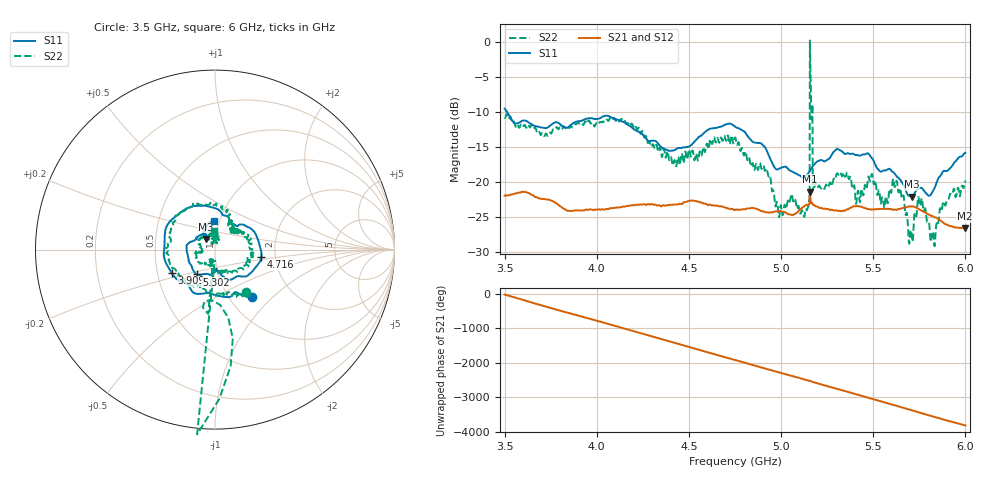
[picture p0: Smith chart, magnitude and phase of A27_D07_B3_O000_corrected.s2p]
! Created with skrf 1.9.0 (http://scikit-rf.org).
# Hz S RI R 50.0
!freq ReS11 ImS11 ReS21 ImS21 ReS12 ImS12 ReS22 ImS22
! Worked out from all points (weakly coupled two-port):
!   1601 points, 3.5 GHz to 6 GHz, reference 50 ohm
!   highest |S21| = -21.35 dB at 5.156 GHz (marker M1); lowest = -26.6 dB at 5.997 GHz (marker M2)
!   lowest |S11| = -22.1 dB at 5.709 GHz (marker M3), VSWR 1.17, Z = 44.8 + j5.39 ohm
!   |S11| at or under -10 dB: 3.515 GHz to end of sweep
!   |S22| runs from -29.2 to 0.3 dB; largest |S21 - S12| = 0.00097
!   S11 on the Smith chart (normalised r, x): 3.5 GHz: 1.26, -0.76; 3.909 GHz: 0.60, -0.17; 4.716 GHz: 1.69, -0.15; 5.302 GHz: 0.79, -0.22; 6 GHz: 0.93, +0.31
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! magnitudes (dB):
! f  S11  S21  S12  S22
! 3.5 GHz  -9.5  -21.9  -21.9  -10.8
! 3.909 GHz  -11.3  -24.1  -24.0  -11.6
! 3.917 GHz  -11.2  -24.1  -24.1  -11.5
! 4.334 GHz  -14.5  -23.3  -23.3  -15.7
! 4.422 GHz  -15.4  -23.2  -23.2  -16.9
! 4.716 GHz  -11.6  -23.8  -23.9  -13.9
! 4.75 GHz  -12.0  -24.0  -23.9  -13.6
! 4.93 GHz  -16.0  -24.3  -24.3  -19.0
! 4.981 GHz  -18.2  -24.2  -24.2  -23.4
! 5.116 GHz  -19.4  -23.7  -23.6  -24.2
! 5.142 GHz  -18.9  -23.3  -23.2  -23.9
! 5.156 GHz  -18.5  -21.4  -21.3  0.3
! 5.167 GHz  -17.9  -23.0  -23.0  -10.6
! 5.184 GHz  -17.3  -23.4  -23.4  -20.5
! 5.302 GHz  -15.3  -24.1  -24.1  -18.8
! 5.584 GHz  -18.1  -23.9  -23.8  -21.7
! 5.636 GHz  -19.4  -23.9  -23.8  -21.4
! 5.709 GHz  -22.1  -23.5  -23.4  -27.9
! 5.753 GHz  -20.8  -24.0  -23.9  -23.4
! 5.823 GHz  -21.3  -24.9  -24.9  -27.1
! 5.997 GHz  -15.9  -26.6  -26.6  -20.1
! 6 GHz  -15.8  -26.6  -26.6  -19.8
